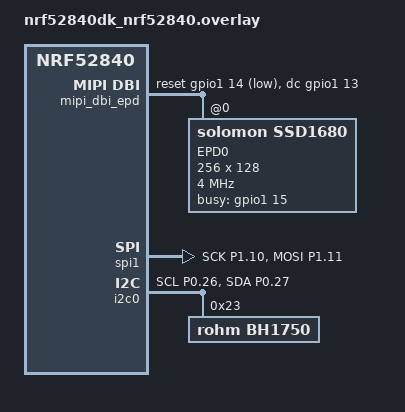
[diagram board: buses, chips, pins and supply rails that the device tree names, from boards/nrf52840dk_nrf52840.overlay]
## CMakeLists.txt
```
cmake_minimum_required(VERSION 3.20.0)
find_package(Zephyr REQUIRED HINTS $ENV{ZEPHYR_BASE})

project(epd_hello_world)

target_sources(app PRIVATE src/main.c)

# === UI sources ===
# Use forward slashes with CMake (works on Windows too)
set(UI_DIR ${CMAKE_CURRENT_SOURCE_DIR}/src/ui)

# Grab everything in src/ui (recursively); CONFIGURE_DEPENDS re-globs on file changes
file(GLOB_RECURSE UI_SOURCES CONFIGURE_DEPENDS
  ${UI_DIR}/*.c
  ${UI_DIR}/*.cpp
)

# Add sources to the app
target_sources(app PRIVATE ${UI_SOURCES})

# If your UI has headers in src/ui or subfolders, add the include path(s)
target_include_directories(app PRIVATE
  ${UI_DIR}
)
```

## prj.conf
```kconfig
# ── Low-level IO
CONFIG_GPIO=y
CONFIG_SPI=y
CONFIG_SPI_NRFX=y
CONFIG_I2C=y
CONFIG_I2C_NRFX=y

# ── Display
CONFIG_DISPLAY=y
CONFIG_SSD16XX=y

# ── LVGL (manual init)
CONFIG_LVGL=y
CONFIG_LV_Z_AUTO_INIT=n
CONFIG_LV_Z_BITS_PER_PIXEL=1
CONFIG_LV_Z_MEM_POOL_SIZE=24576
CONFIG_LV_USE_LABEL=y
CONFIG_LV_USE_THEME_DEFAULT=y

# ── Logging (handy while bring-up)
CONFIG_LOG=y
CONFIG_LV_USE_LOG=y
CONFIG_LV_LOG_LEVEL_INFO=y
CONFIG_DISPLAY_LOG_LEVEL_DBG=y

# ── libc + float printf (we’ll still format as integers for safety)
CONFIG_NEWLIB_LIBC=y
CONFIG_NEWLIB_LIBC_NANO=y
CONFIG_NEWLIB_LIBC_FLOAT_PRINTF=y
CONFIG_CBPRINTF_FP_SUPPORT=y

# ── Stacks / safety
CONFIG_HW_STACK_PROTECTION=y
CONFIG_MAIN_STACK_SIZE=24576

# ── Optional: build your LC709203F stub driver (not required for reading,
#    but nice to have since you included the module)
#CONFIG_LC709203F=y

# ─────────────────────────────
# I2C for reading lux sensor
# ─────────────────────────────

CONFIG_I2C=y
CONFIG_SENSOR=y
CONFIG_BH1750=y
```

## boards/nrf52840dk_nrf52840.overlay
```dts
#include <zephyr/dt-bindings/gpio/gpio.h>

/ {
    chosen {
        zephyr,display = &epd;
    };

    aliases {
        light0 = &lux_sensor;
    };

    mipi_dbi_epd: mipi_dbi_epd {
        compatible = "zephyr,mipi-dbi-spi";
        spi-dev = <&spi1>;
        dc-gpios = <&gpio1 13 GPIO_ACTIVE_HIGH>;
        reset-gpios = <&gpio1 14 GPIO_ACTIVE_LOW>;
        #address-cells = <1>;
        #size-cells = <0>;

        epd: ssd16xxfb@0 {
            compatible = "solomon,ssd1680";
            status = "okay";
            reg = <0>;
            label = "EPD0";

            /* REQUIRED / USED BY DRIVER */
            width = <256>;
            height = <128>;
            rotation = <0>;
            busy-gpios = <&gpio1 15 GPIO_ACTIVE_HIGH>;
            mipi-max-frequency = <4000000>;

            /* Optional SSD16xx specifics */
            tssv = <0x80>;

            /* Use partial waveform for small-area updates (label only) */
            partial { };
            /* If you later want to tweak border behavior you can also define:
             * full    { border-waveform = <0x00>; };
             * partial { border-waveform = <0x00>; };
             */
        };
    };
};

&spi1 {
    status = "okay";
    cs-gpios = <&gpio1 12 GPIO_ACTIVE_LOW>;
    pinctrl-0 = <&spi1_default>;
    pinctrl-1 = <&spi1_sleep>;
    pinctrl-names = "default", "sleep";
};

&pinctrl {
    spi1_default: spi1_default {
        group1 {
            psels = <NRF_PSEL(SPIM_SCK, 1, 10)>,
                    <NRF_PSEL(SPIM_MOSI, 1, 11)>;
        };
    };

    spi1_sleep: spi1_sleep {
        group1 {
            psels = <NRF_PSEL(SPIM_SCK, 1, 10)>,
                    <NRF_PSEL(SPIM_MOSI, 1, 11)>;
            low-power-enable;
        };
    };
};

&i2c0 {
    status = "okay";
    pinctrl-0 = <&i2c0_default>;
    pinctrl-1 = <&i2c0_sleep>;
    pinctrl-names = "default", "sleep";

    lux_sensor: bh1750@23 {
        compatible = "rohm,bh1750";
        reg = <0x23>;              /* or 0x5C if ADDR is pulled high */
        label = "BH1750";
        status = "okay";
        // power-gpios = <&gpio1 16 GPIO_ACTIVE_HIGH>; /* optional */
    };
};

&pinctrl {
    /omit-if-no-ref/ i2c0_default: i2c0_default {
        group1 {
            psels = <NRF_PSEL(TWIM_SCL, 0, 26)>,  /* SCL = P0.26 */
                    <NRF_PSEL(TWIM_SDA, 0, 27)>;  /* SDA = P0.27 */
        };
    };

    /omit-if-no-ref/ i2c0_sleep: i2c0_sleep {
        group1 {
            psels = <NRF_PSEL(TWIM_SCL, 0, 26)>,
                    <NRF_PSEL(TWIM_SDA, 0, 27)>;
            low-power-enable;
        };
    };
};
```

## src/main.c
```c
#include <zephyr/kernel.h>
#include <zephyr/device.h>
#include <zephyr/devicetree.h>
#include <zephyr/drivers/display.h>
#include <zephyr/sys/printk.h>
#include <lvgl.h>
// Sensor and I2C headers
#include <zephyr/drivers/sensor.h>
#include <zephyr/drivers/i2c.h>
#include <zephyr/drivers/sensor.h>
#include <ui.h>

/* Logical LVGL resolution (must be multiple of 8 for I1) */
#define PANEL_HOR_RES 256U
#define PANEL_VER_RES 128U

/* LVGL draw buffer: +8 bytes palette for I1 */
#define DRAW_BUF_SIZE (((PANEL_HOR_RES * PANEL_VER_RES) / 8U) + 8U)
static uint8_t draw_buf[DRAW_BUF_SIZE];

/* BH1750 node (from your overlay: aliases { light0 = &lux_sensor; }; ) */
#define I2C_NODE DT_ALIAS(light0)

/* Poll every 30 seconds */
#define LUX_PERIOD K_SECONDS(30)

/* --- BH1750 device + work item --- */
#if !DT_NODE_HAS_STATUS(I2C_NODE, okay)
#error "BH1750 (alias 'light0') not found/enabled in devicetree"
#endif
static const struct device *const bh1750 = DEVICE_DT_GET(I2C_NODE);
static struct k_work_delayable lux_work;

/* Latest lux sample; <0 means 'no new sample' */
static double last_lux = -1.0;

/* ------- BH1750 work handler: read and stash value (no LVGL here) ------- */
static void lux_work_handler(struct k_work *work)
{
        ARG_UNUSED(work);

        if (!device_is_ready(bh1750))
        {
                printk("[LUX] device not ready\n");
                (void)k_work_reschedule(&lux_work, LUX_PERIOD);
                return;
        }

        struct sensor_value lux;
        int err = sensor_sample_fetch(bh1750);
        if (!err)
        {
                err = sensor_channel_get(bh1750, SENSOR_CHAN_LIGHT, &lux);
        }
        if (!err)
        {
                double lx = sensor_value_to_double(&lux);
                last_lux = lx; /* consumed in main loop */
                printk("[LUX] %.3f lx\n", lx);
        }
        else
        {
                printk("[LUX] read failed: %d\n", err);
        }

        (void)k_work_reschedule(&lux_work, LUX_PERIOD);
}

/* ------- EPD flush: LVGL I1 -> SSD16xx vertical-tiling ------- */
static void epd_flush_cb(lv_display_t *disp, const lv_area_t *area, uint8_t *px_map)
{
        const struct device *dev = (const struct device *)lv_display_get_user_data(disp);

        /* Skip 8-byte palette for I1 */
        px_map += 8;

        /* Clip to physical (250x122) */
        lv_coord_t x1 = area->x1, y1 = area->y1, x2 = area->x2, y2 = area->y2;
        if (x2 >= 250)
                x2 = 249;
        if (y2 >= 122)
                y2 = 121;
        uint16_t w = (uint16_t)(x2 - x1 + 1);
        uint16_t h = (uint16_t)(y2 - y1 + 1);

        /* Convert to vertical-tiling */
        static uint8_t vtbuf[PANEL_HOR_RES * ((PANEL_VER_RES + 7) / 8)];
        uint16_t groups = (h + 7U) >> 3;

        for (uint16_t gx = 0; gx < w; gx++)
        {
                for (uint16_t gy = 0; gy < groups; gy++)
                {
                        uint8_t out_byte = 0;
                        for (uint8_t bit = 0; bit < 8; bit++)
                        {
                                uint16_t row = gy * 8U + bit;
                                uint8_t bit_val = 0;
                                if (row < h)
                                {
                                        lv_coord_t px = x1 + gx;
                                        lv_coord_t py = y1 + row;
                                        uint32_t idx = (uint32_t)py * PANEL_HOR_RES + px;
                                        uint32_t byte_index = idx >> 3;
                                        uint8_t bit_off = idx & 0x7;
                                        bit_val = (px_map[byte_index] >> (7 - bit_off)) & 1U;
                                }
                                if (bit_val)
                                        out_byte |= (1U << (7 - bit));
                        }
                        vtbuf[gy * w + gx] = out_byte;
                }
        }

        struct display_buffer_descriptor desc = {
            .buf_size = w * groups,
            .width = w,
            .pitch = w,
            .height = (uint16_t)(groups * 8U),
        };

        int ret = display_write(dev, x1, y1, &desc, vtbuf);
        if (ret)
        {
                printk("display_write() failed: %d\n", ret);
        }

        lv_display_flush_ready(disp);
}

/* Align flush areas to 8px boundaries (I1 byte alignment) */
static void rounder_cb(lv_event_t *e)
{
        lv_area_t *a = (lv_area_t *)lv_event_get_param(e);
        a->x1 &= ~0x7;
        a->x2 |= 0x7;
        if (a->x2 >= PANEL_HOR_RES)
                a->x2 = PANEL_HOR_RES - 1;
        /* y alignment not required for I1; keep as-is to minimize area */
}

/* LVGL tick from Zephyr uptime (ms) */
static uint32_t my_tick_get(void) { return (uint32_t)k_uptime_get(); }

int main(void)
{
        /* LVGL init */
        lv_init();

        const struct device *display_dev = DEVICE_DT_GET(DT_CHOSEN(zephyr_display));
        if (!device_is_ready(display_dev))
        {
                printk("Display device not ready\n");
                return;
        }

        lv_tick_set_cb(my_tick_get);

        /* LVGL display setup: PARTIAL render mode so only invalidated areas flush */
        lv_display_t *disp = lv_display_create(PANEL_HOR_RES, PANEL_VER_RES);
        if (!disp)
        {
                printk("Failed to create LVGL display\n");
                return;
        }
        lv_display_set_color_format(disp, LV_COLOR_FORMAT_I1);
        lv_display_set_user_data(disp, (void *)display_dev);
        lv_display_set_buffers(disp, draw_buf, NULL, sizeof(draw_buf),
                               LV_DISPLAY_RENDER_MODE_PARTIAL); /* <-- key */

        lv_display_set_flush_cb(disp, epd_flush_cb);
        lv_display_add_event_cb(disp, rounder_cb, LV_EVENT_INVALIDATE_AREA, disp);

        display_blanking_off(display_dev);

        // /* Simple demo UI */
        // lv_obj_t *label = lv_label_create(lv_screen_active());
        // lv_label_set_text(label, "Hello from LVGL!");
        // lv_obj_center(label);

        ui_init(); // Initialize your UI

        if (!objects.lux_value_label)
        {
                printk("EEZ label pointer is NULL (check EEZ export / screen init)\n");
        }

        /* Start periodic lux polling (first read after 1 s) */
        k_work_init_delayable(&lux_work, lux_work_handler);
        k_work_schedule(&lux_work, K_SECONDS(1));

        /* LVGL tick/handler loop */
        while (1)
        {
                lv_timer_handler();

                if (last_lux >= 0.0)
                {
                        char buf[32];
                        snprintk(buf, sizeof(buf), "%.1f lx", last_lux);
                        if (objects.lux_value_label)
                        {
                                lv_label_set_text(objects.lux_value_label, buf);
                                /* Render now; LVGL will only flush the label's area */
                                lv_refr_now(lv_disp_get_default());
                        }
                        last_lux = -1.0; /* mark consumed */
                }

                k_msleep(50);
        }
}
```
